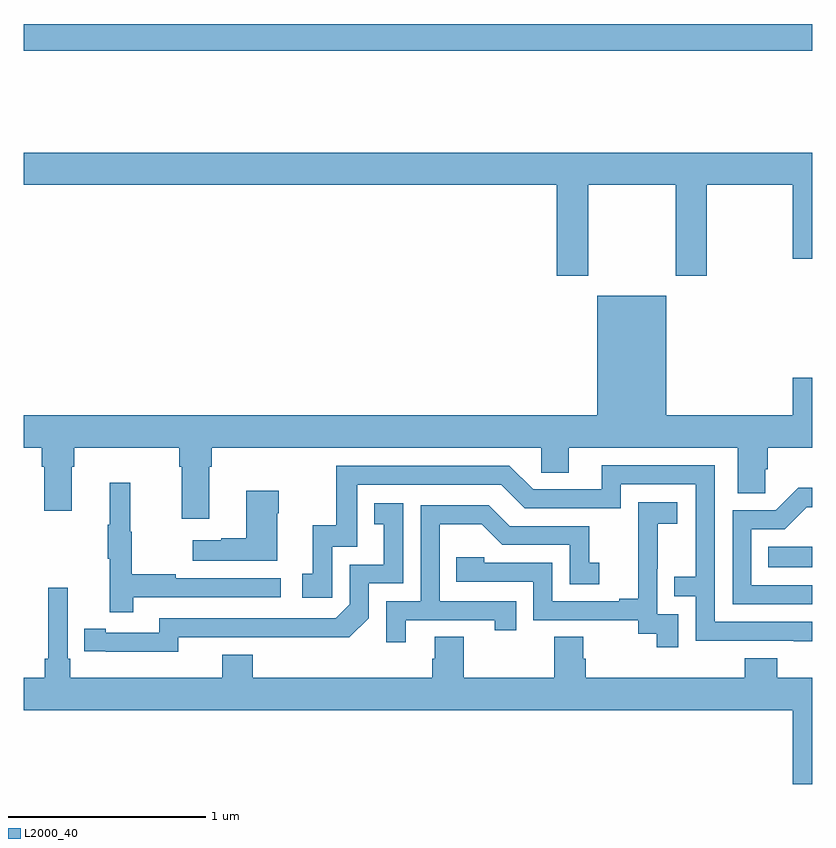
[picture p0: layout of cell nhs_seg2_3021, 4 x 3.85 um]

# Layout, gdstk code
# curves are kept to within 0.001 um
import gdstk
lib = gdstk.Library(unit=1e-6, precision=1e-09)
def R(c, l, rs):  # rectangles x0, y0, x1, y1
    for r in rs: c.add(gdstk.rectangle(r[:2], r[2:], *l))
def P(c, l, *ps):  # polygons
    for p in ps: c.add(gdstk.Polygon(p, *l))
L2000_40 = (2000, 40)

nhs_seg2_3021 = lib.new_cell('nhs_seg2_3021')
R(nhs_seg2_3021, L2000_40, [(272.776,659.018,273,659.122), (269,661.636,273,661.772)])
P(nhs_seg2_3021, L2000_40, [(271.863,660.956),(272.308,660.956),(272.308,660.495),(272.463,660.495),(272.463,660.956),(272.9,660.956),(272.9,660.582),(273,660.582),(273,661.12),(269,661.12),(269,660.956),(271.703,660.956),(271.703,660.495),(271.863,660.495)],
  [(269.941,659.528),(269.954,659.528),(269.954,659.624),(271.626,659.624),(271.626,659.497),(271.765,659.497),(271.765,659.624),(272.621,659.624),(272.621,659.392),(272.76,659.392),(272.76,659.515),(272.774,659.515),(272.774,659.624),(273,659.624),(273,659.977),(272.9,659.977),(272.9,659.788),(272.26,659.788),(272.26,660.394),(271.91,660.394),(271.91,659.788),(269,659.788),(269,659.624),(269.093,659.624),(269.093,659.528),(269.105,659.528),(269.105,659.304),(269.245,659.304),(269.245,659.528),(269.258,659.528),(269.258,659.624),(269.789,659.624),(269.789,659.528),(269.801,659.528),(269.801,659.262),(269.941,659.262)],
  [(273,658.74),(272.505,658.74),(272.505,659.535),(271.931,659.535),(271.931,659.412),(271.584,659.412),(271.464,659.532),(270.585,659.532),(270.585,659.23),(270.467,659.23),(270.467,658.983),(270.414,658.983),(270.414,658.863),(270.564,658.863),(270.564,659.121),(270.693,659.121),(270.693,659.436),(271.422,659.436),(271.542,659.316),(272.028,659.316),(272.028,659.439),(272.409,659.439),(272.409,658.97),(272.299,658.97),(272.299,658.869),(272.409,658.869),(272.409,658.644),(273,658.643)],
  [(269.555,658.866),(270.304,658.866),(270.304,658.962),(269.771,658.962),(269.771,658.982),(269.548,658.982),(269.548,659.196),(269.54,659.196),(269.54,659.446),(269.438,659.446),(269.438,659.233),(269.427,659.233),(269.427,659.059),(269.438,659.059),(269.438,658.788),(269.555,658.788)],
  [(273,658.926),(272.691,658.926),(272.691,659.211),(272.86,659.211),(272.971,659.322),(273,659.322),(273,659.42),(272.927,659.42),(272.814,659.307),(272.595,659.307),(272.595,658.83),(273,658.83)],
  [(270.286,659.291),(270.294,659.291),(270.294,659.404),(270.128,659.404),(270.128,659.165),(270.002,659.165),(270.002,659.155),(269.859,659.155),(269.859,659.051),(270.286,659.051)],
  [(272.319,658.779),(272.214,658.779),(272.214,659.009),(272.216,659.009),(272.216,659.237),(272.314,659.237),(272.314,659.347),(272.116,659.347),(272.116,659.141),(272.117,659.141),(272.117,658.858),(272.021,658.858),(272.021,658.845),(271.68,658.845),(271.68,659.04),(271.335,659.04),(271.335,659.067),(271.195,659.067),(271.195,658.944),(271.584,658.944),(271.584,658.749),(272.118,658.749),(272.118,658.681),(272.211,658.681),(272.211,658.611),(272.319,658.611)],
  [(269.784,658.662),(270.652,658.661),(270.75,658.758),(270.75,658.935),(270.924,658.935),(270.924,659.341),(270.778,659.341),(270.778,659.235),(270.827,659.235),(270.827,659.031),(270.654,659.031),(270.654,658.83),(270.582,658.758),(269.688,658.758),(269.688,658.686),(269.416,658.686),(269.416,658.706),(269.308,658.706),(269.308,658.59),(269.784,658.589)],
  [(270.937,658.749),(271.388,658.749),(271.388,658.698),(271.499,658.698),(271.499,658.845),(271.11,658.845),(271.11,659.234),(271.324,659.234),(271.428,659.13),(271.77,659.13),(271.77,658.932),(271.918,658.932),(271.918,659.041),(271.869,659.041),(271.869,659.226),(271.465,659.226),(271.36,659.331),(271.014,659.331),(271.014,658.845),(270.84,658.845),(270.84,658.638),(270.937,658.638)],
  [(273,658.456),(272.822,658.456),(272.822,658.555),(272.657,658.555),(272.657,658.456),(271.85,658.456),(271.85,658.554),(271.837,658.554),(271.837,658.664),(271.69,658.664),(271.69,658.456),(271.233,658.456),(271.233,658.664),(271.085,658.664),(271.085,658.554),(271.073,658.554),(271.073,658.456),(270.161,658.456),(270.161,658.573),(270.008,658.573),(270.008,658.456),(269.237,658.456),(269.237,658.552),(269.223,658.552),(269.223,658.912),(269.126,658.912),(269.126,658.552),(269.107,658.552),(269.107,658.456),(269,658.456),(269,658.292),(272.9,658.292),(272.9,657.918),(273,657.918)])

lib.write_gds('nhs_seg2_3021.gds')
